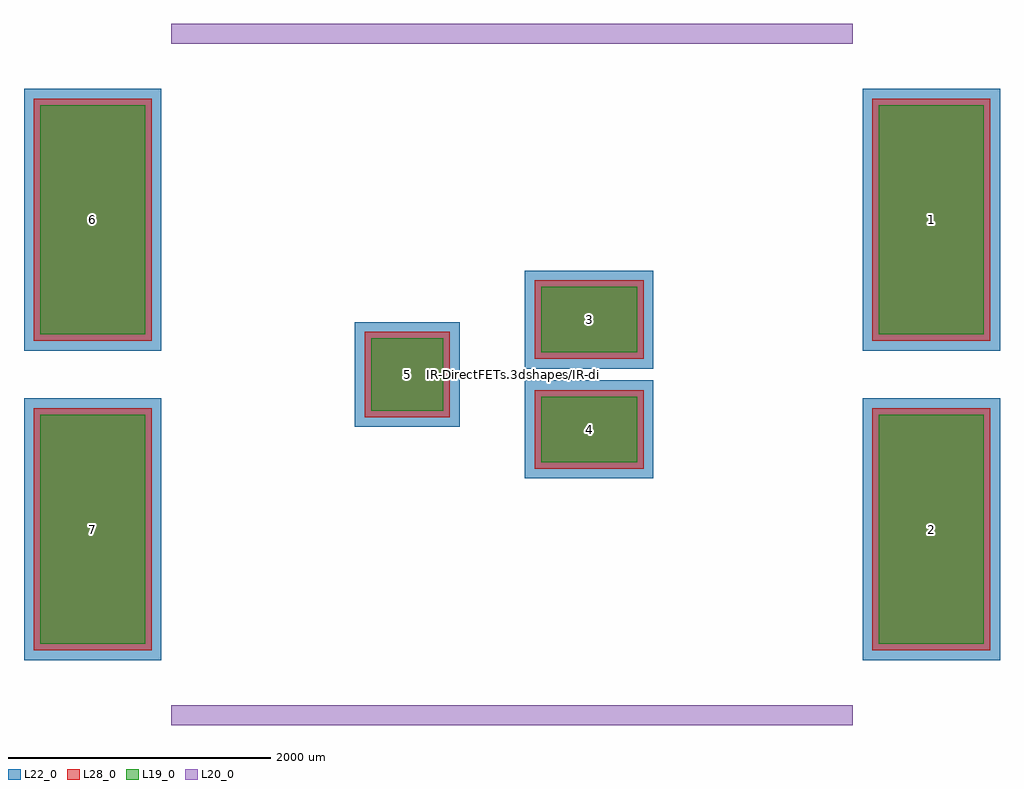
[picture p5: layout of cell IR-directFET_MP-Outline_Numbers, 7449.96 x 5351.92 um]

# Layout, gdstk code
import gdstk
lib = gdstk.Library(unit=1e-6, precision=1e-09)
def R(c, l, rs):  # rectangles x0, y0, x1, y1
    for r in rs: c.add(gdstk.rectangle(r[:2], r[2:], *l))
L19_0 = (19, 0)
L20_0 = (20, 0)
L22_0 = (22, 0)
L28_0 = (28, 0)

ir_directfet_mp_outline_ = lib.new_cell('IR-directFET_MP-Outline_Numbers')
R(ir_directfet_mp_outline_, L19_0, [(-3599.98,-2055.66,-2800.82,-306.54), (2800.82,-2055.66,3599.98,-306.54), (223.99,-668.82,954.57,-169.38), (-1075.22,-275.12,-524.98,275.12), (223.99,169.38,954.57,668.82), (-3599.98,306.54,-2800.82,2055.66), (2800.82,306.54,3599.98,2055.66)])
R(ir_directfet_mp_outline_, L22_0, [(-3724.98,-2180.66,-2675.82,-181.54), (2675.82,-2180.66,3724.98,-181.54), (98.99,-793.82,1079.57,-44.38), (-1200.22,-400.12,-399.98,400.12), (98.99,44.38,1079.57,793.82), (-3724.98,181.54,-2675.82,2180.66), (2675.82,181.54,3724.98,2180.66)])
R(ir_directfet_mp_outline_, L28_0, [(-3649.98,-2105.66,-2750.82,-256.54), (2750.82,-2105.66,3649.98,-256.54), (173.99,-718.82,1004.57,-119.38), (-1125.22,-325.12,-474.98,325.12), (173.99,119.38,1004.57,718.82), (-3649.98,256.54,-2750.82,2105.66), (2750.82,256.54,3649.98,2105.66)])
ir_directfet_mp_outline_.add(gdstk.FlexPath([(-2600.96,2600.96),(2600.96,2600.96)], 149.998, ends="flush", simple_path=True, layer=20, datatype=0))  # L20_0
ir_directfet_mp_outline_.add(gdstk.FlexPath([(2600.96,-2600.96),(-2600.96,-2600.96)], 149.998, ends="flush", simple_path=True, layer=20, datatype=0))  # L20_0
ir_directfet_mp_outline_.add(gdstk.Label('IR-DirectFETs.3dshapes/IR-directFET_MP-Outline_Numbers.wrl', (0,0), layer=12, texttype=0))
ir_directfet_mp_outline_.add(gdstk.Label('2', (3200.4,-1181.1), layer=28, texttype=0))
ir_directfet_mp_outline_.add(gdstk.Label('1', (3200.4,1181.1), layer=28, texttype=0))
ir_directfet_mp_outline_.add(gdstk.Label('7', (-3200.4,-1181.1), layer=28, texttype=0))
ir_directfet_mp_outline_.add(gdstk.Label('6', (-3200.4,1181.1), layer=28, texttype=0))
ir_directfet_mp_outline_.add(gdstk.Label('4', (589.28,-419.1), layer=28, texttype=0))
ir_directfet_mp_outline_.add(gdstk.Label('3', (589.28,419.1), layer=28, texttype=0))
ir_directfet_mp_outline_.add(gdstk.Label('5', (-800.1,0), layer=28, texttype=0))
ir_directfet_mp_outline_.add(gdstk.Label('type', (0,-4826), layer=9, texttype=0))
ir_directfet_mp_outline_.add(gdstk.Label('devicename', (0,4099.56), layer=9, texttype=0))

lib.write_gds('IR-directFET_MP-Outline_Numbers.gds')
